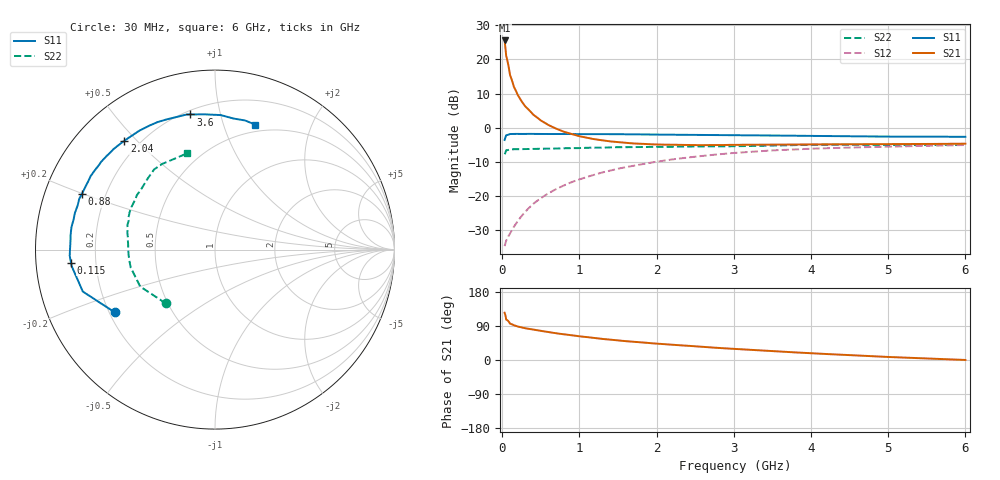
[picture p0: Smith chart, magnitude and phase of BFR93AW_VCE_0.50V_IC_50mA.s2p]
! Infineon Technologies  Discrete & RF Semiconductors
! BFR93AW
! VCE = 0.50 V,  IC =  50 mA
! Common Emitter S-Parameters:  Nov 2015
# GHz  S  MA  R  50
!  f  S11  S21  S12  S22
! GHz  MAG  ANG  MAG  ANG  MAG  ANG  MAG  ANG
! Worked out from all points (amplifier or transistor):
!   206 points, 30 MHz to 6 GHz, reference 50 ohm
!   highest |S21| = 25.6 dB at 30 MHz (marker M1)
!   |S21| within 3 dB of that: start of sweep to 44.18 MHz
!   unconditionally stable (mu >= 1): 79.2 MHz to end of sweep
!   at 200 MHz: K = 1.43, MAG = 14.6 dB, |S12| = -27.4 dB
!   at 1.56 GHz: K = 1.34, MAG = 0.2 dB, |S12| = -11.8 dB
!   at 6 GHz: K = 1.06, MAG = -1.3 dB, |S12| = -5.1 dB
!   S11 on the Smith chart (normalised r, x): 30 MHz: 0.22, -0.27; 115 MHz: 0.11, -0.04; 880 MHz: 0.11, +0.20; 2.04 GHz: 0.14, +0.46; 3.6 GHz: 0.22, +0.81; 6 GHz: 0.43, +1.28
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0.03  0.6584 -147.9  19 124.8  0.0182 45.0  0.406 -132.4
0.05  0.7726 -162.4  11.41 107.0  0.0218 41.3  0.4649 -153.7
0.1  0.8046 -173.6  5.927 96.0  0.028 48.7  0.48 -168.0
0.115  0.8058 -174.8  5.34 95.0  0.0301 50.9  0.4801 -169.6
0.15  0.8102 -177.7  3.979 91.6  0.035 54.9  0.4817 -173.2
0.2  0.8077 179.1  3.014 88.3  0.0425 59.8  0.482 -176.3
0.26  0.8068 176.1  2.342 85.5  0.052 63.2  0.4833 -178.9
0.3  0.8086 174.6  2.033 83.7  0.0585 64.8  0.4836 179.9
0.4  0.8095 171.2  1.552 80.1  0.0758 66.9  0.4843 176.9
0.5  0.8056 168.0  1.27 76.7  0.0922 67.9  0.4877 174.6
0.6  0.8068 165.4  1.087 73.7  0.1087 67.7  0.4887 172.8
0.7  0.8038 162.2  0.962 70.4  0.1257 67.0  0.4923 171.0
0.88  0.8039 157.5  0.814 65.8  0.1553 65.5  0.4979 168.1
1.04  0.8022 153.1  0.73 61.6  0.1799 63.6  0.5028 165.7
1.4  0.7998 144.2  0.627 53.4  0.2342 58.7  0.5137 160.6
2.02  0.7902 130.2  0.564 42.8  0.3178 50.0  0.5222 152.8
2.04  0.7896 129.8  0.563 42.5  0.3204 49.7  0.5222 152.5
3.1  0.7715 108.8  0.559 28.2  0.4317 34.6  0.5346 138.5
3.6  0.7653 100.3  0.563 22.2  0.4678 27.9  0.5475 132.3
4.1  0.7536 92.9  0.567 16.8  0.494 21.6  0.5604 126.1
5.1  0.7371 80.8  0.574 7.2  0.5276 11.4  0.5546 115.4
6  0.7319 72.2  0.581 0.1  0.5554 3.8  0.5583 106.3
